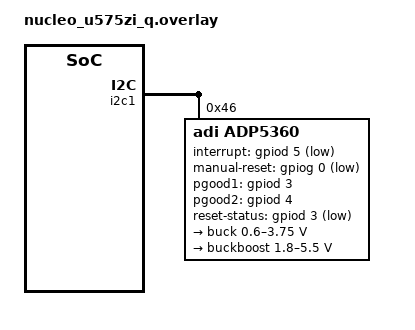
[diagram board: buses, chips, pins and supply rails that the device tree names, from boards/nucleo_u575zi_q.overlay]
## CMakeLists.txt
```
# SPDX-License-Identifier: Apache-2.0

cmake_minimum_required(VERSION 3.20.0)
find_package(Zephyr REQUIRED HINTS $ENV{ZEPHYR_BASE})
project(adp5360)

FILE(GLOB app_sources src/*.c)
target_sources(app PRIVATE ${app_sources})
```

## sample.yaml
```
sample:
  name: ADP5360 Multi-Function Device Sample
  description: Sample for ADP5360 MFD (Charger, Fuel Gauge, Regulator)
tests:
  sample.drivers.adp5360.charger:
    harness: console
    tags:
      - charger
      - mfd
    integration_platforms:
      - nucleo_u575zi_q
    filter: dt_compat_enabled("adi,adp5360")
    platform_allow: nucleo_u575zi_q
    depends_on: i2c
    harness_config:
      type: multi_line
      regex:
        - "Current Limit:.*uA"
        - "Charger is active"
  sample.drivers.adp5360.fuel_gauge:
    harness: console
    tags:
      - fuel_gauge
      - mfd
    integration_platforms:
      - nucleo_u575zi_q
    filter: dt_compat_enabled("adi,adp5360")
    platform_allow: nucleo_u575zi_q
    depends_on: i2c
    harness_config:
      type: multi_line
      regex:
        - "Fuel gauge Battery Capacity:.*"
        - "Fuel gauge SoC:.*"
  sample.drivers.adp5360.regulator:
    harness: console
    tags:
      - regulator
      - mfd
    integration_platforms:
      - nucleo_u575zi_q
    filter: dt_compat_enabled("adi,adp5360")
    platform_allow: nucleo_u575zi_q
    depends_on: i2c
    harness_config:
      type: multi_line
      regex:
        - "Buck Output Voltage:.*"
        - "Buck Boost Output Voltage:.*"
```

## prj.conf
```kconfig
CONFIG_PM_DEVICE=y
CONFIG_STDOUT_CONSOLE=y
CONFIG_CBPRINTF_FP_SUPPORT=y
CONFIG_MFD=y
CONFIG_CHARGER=y
CONFIG_FUEL_GAUGE=y
CONFIG_REGULATOR=y
CONFIG_ADP5360_TRIGGER_OWN_THREAD=y
```

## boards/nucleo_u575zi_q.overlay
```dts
/*
 * Copyright (c) 2026 Analog Devices Inc
 *
 * SPDX-License-Identifier: Apache-2.0
 */

#include <zephyr/dt-bindings/regulator/adp5360.h>

dev: &i2c1 {
	status = "okay";

	adp5360@46 {
		compatible = "adi,adp5360";
		reg = <0x46>;

		interrupt-gpios = <&gpiod 5 GPIO_ACTIVE_LOW>;
		manual-reset-gpios = <&gpiog 0 GPIO_ACTIVE_LOW>;
		pgood1-gpios = <&gpiod 3 GPIO_ACTIVE_HIGH>;
		pgood2-gpios = <&gpiod 4 GPIO_ACTIVE_HIGH>;
		reset-status-gpios = <&gpiod 3 GPIO_ACTIVE_LOW>;

		charger {
			compatible = "adi,adp5360-charger";

			battery-name = "dummy-charger";
			device-chemistry = "lithium-ion";
			charge-term-current-microamp = <5000>;
			constant-charge-current-max-microamp = <20000>;
			constant-charge-voltage-max-microvolt = <4160000>;
			re-charge-voltage-microvolt = <120000>;
			precharge-current-microamp = <5000>;
		};

		fuel-gauge {
			compatible = "adi,adp5360-fuel-gauge";
			status = "okay";
		};

		regulators {
			compatible = "adi,adp5360-regulator";

			buck: buck {
				regulator-boot-on;
				regulator-active-discharge = <1>;
				regulator-allowed-modes = <ADP5360_MODE_HYS ADP5360_MODE_PWM>;
				adi,enable-stop-pulse;
				regulator-init-microvolt = <1300000>;
				regulator-initial-mode = <ADP5360_MODE_PWM>;
				regulator-max-microvolt = <3750000>;
				regulator-min-microvolt = <600000>;
			};

			buckboost: buckboost {
				regulator-boot-on;
				regulator-active-discharge = <0>;
				regulator-init-microvolt = <3300000>;
				regulator-max-microvolt = <5500000>;
				regulator-min-microvolt = <1800000>;
			};
		};
	};
};
```

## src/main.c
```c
/*
 * Copyright (c) 2026 Analog Devices Inc.
 *
 * SPDX-License-Identifier: Apache-2.0
 */

#include <zephyr/kernel.h>
#include <zephyr/device.h>
#include <zephyr/drivers/mfd/adp5360.h>
#include <zephyr/drivers/charger.h>
#include <zephyr/drivers/fuel_gauge.h>
#include <zephyr/drivers/regulator.h>
#include <sys/errno.h>
#include <stdio.h>
#include <string.h>
#include <zephyr/sys/__assert.h>

#define DEVICE_NAME_MFD "mfd"
#define DEVICE_NAME_CHARGER "charger"
#define DEVICE_NAME_FUEL_GAUGE "fuel gauge"
#define DEVICE_NAME_BUCK_REGULATOR "buck regulator"
#define DEVICE_NAME_BUCK_BOOST_REGULATOR "buck boost regulator"

static char *interrupt_source_name[] =	{"SOC Low",
					 "SOC Accumulated",
					 "ADPICHG",
					 "Battery Protection",
					 "Thermistor Threshold",
					 "Battery Threshold",
					 "Charger Mode Change",
					 "VBus Threshold",
					 "MR Triggered",
					 "Watchdog Timeout",
					 "Buck Change",
					 "Buckboost Change"};

static char *pgood_source_name[] =	{"Charge Complete",
					 "VBUS OK",
					 "Battery OK",
					 "VOUT1 OK",
					 "VOUT2 OK"};

static const char *now_str(void)
{
	static char buf[16]; /* ...HH:MM:SS.MMM */
	uint32_t now = k_uptime_get_32();
	unsigned int ms = now % MSEC_PER_SEC;
	unsigned int s;
	unsigned int min;
	unsigned int h;

	now /= MSEC_PER_SEC;
	s = now % 60U;
	now /= 60U;
	min = now % 60U;
	now /= 60U;
	h = now;

	snprintf(buf, sizeof(buf), "%u:%02u:%02u.%03u", h, min, s, ms);
	return buf;
}

static void trigger_handler(const struct device *dev, void *user_data)
{
	const char *trig_name = (char *)user_data;

	printk("[%s]: Alert detected in INT pin! Source %s\n", now_str(), trig_name);
}

static void reset_handler(const struct device *dev, void *user_data)
{
	printk("[%s]: Reset signal detected in RESET pin!\n", now_str());
}

static void pgood_handler(const struct device *dev, void *user_data)
{
	const char *trig_name = (char *)user_data;

	printk("[%s]: PGOOD signal detected in PGOOD pin!\n Source %s\n", now_str(), trig_name);
}

static int check_device_ready(const struct device *dev, const char *dev_name)
{
	if (dev == NULL) {
		printk("Error: no %s device found.\n", dev_name);
		return -1;
	}

	if (!device_is_ready(dev)) {
		printk("Error: Device \"%s\" is not ready; "
		       "check the driver initialization logs for errors.\n",
		       dev->name);
		return -1;
	}

	return 0;
}

static int read_charger_properties(const struct device *chgdev)
{
	union charger_propval charger_val;
	int ret;

	printk("[%s]: Found device \"%s\", getting charger data\n", now_str(), chgdev->name);

	ret = charger_get_prop(chgdev, CHARGER_PROP_INPUT_REGULATION_CURRENT_UA, &charger_val);
	if (ret) {
		printk("[%s]: Error getting Regulation current on device! ret %d\n", now_str(),
		       ret);
		return -1;
	}
	printk("[%s]: Current Limit: %d uA\n", now_str(),
	       charger_val.input_current_regulation_current_ua);

	ret = charger_get_prop(chgdev, CHARGER_PROP_PRECHARGE_CURRENT_UA, &charger_val);
	if (ret) {
		printk("[%s]: Error getting Precharge current on device! ret %d\n", now_str(), ret);
		return -1;
	}
	printk("[%s]: Current (Weak Charge): %d uA\n", now_str(), charger_val.precharge_current_ua);

	ret = charger_get_prop(chgdev, CHARGER_PROP_CONSTANT_CHARGE_CURRENT_UA, &charger_val);
	if (ret) {
		printk("[%s]: Error getting Constant charge current on device! ret %d\n", now_str(),
		       ret);
		return -1;
	}
	printk("[%s]: Current (Fast Charge): %d uA\n", now_str(),
	       charger_val.const_charge_current_ua);

	ret = charger_get_prop(chgdev, CHARGER_PROP_CHARGE_TERM_CURRENT_UA, &charger_val);
	if (ret) {
		printk("[%s]: Error getting Termination current on device! ret %d\n", now_str(),
		       ret);
		return -1;
	}

	ret = charger_get_prop(chgdev, CHARGER_PROP_INPUT_REGULATION_VOLTAGE_UV, &charger_val);
	if (ret) {
		printk("[%s]: Error getting Adaptive Voltage on device! ret %d\n", now_str(), ret);
		return -1;
	}

	printk("[%s]: Adaptive Voltage: %d uV\n", now_str(),
	       charger_val.input_voltage_regulation_voltage_uv);

	ret = charger_get_prop(chgdev, CHARGER_PROP_CHARGE_TERM_CURRENT_UA, &charger_val);
	if (ret) {
		printk("[%s]: Error getting Termination Current on device! ret %d\n", now_str(),
		       ret);
		return -1;
	}

	printk("[%s]: Current (Termination): %d uA\n", now_str(),
	       charger_val.charge_term_current_ua);

	return 0;
}

static int setup_triggers(const struct device *mfddev)
{
	int ret;

	if (!IS_ENABLED(CONFIG_MFD_ADP5360_TRIGGER)) {
		return 0;
	}

	ret = mfd_adp5360_interrupt_trigger_set(mfddev,
						ADP5360_INTERRUPT_CHARGER_MODE_CHANGE,
						trigger_handler,
						(void *)interrupt_source_name[6]);
	if (ret) {
		printk("[%s]: Error setting trigger! ret %d\n", now_str(), ret);
		return -1;
	}

	printk("[%s]: INT trigger set for %s.\n", now_str(), interrupt_source_name[6]);

	ret = mfd_adp5360_reset_trigger_set(mfddev, reset_handler, NULL);
	if (ret) {
		printk("[%s]: Error setting reset trigger! ret %d\n", now_str(), ret);
		return -1;
	}

	printk("[%s]: reset trigger set.\n", now_str());

	ret = mfd_adp5360_pgood_trigger_set(mfddev, ADP5360_PGOOD1,
					    ADP5360_PGOOD_STATUS_VOUT1_OK,
					    pgood_handler,
					    (void *)pgood_source_name[3]);
	if (ret) {
		printk("[%s]: Error setting pgood trigger! ret %d\n", now_str(), ret);
		return -1;
	}

	printk("[%s]: PGOOD1 trigger set for %s.\n", now_str(), pgood_source_name[3]);

	ret = mfd_adp5360_pgood_trigger_set(mfddev, ADP5360_PGOOD1,
					    ADP5360_PGOOD_STATUS_CHARGE_COMPLETE,
					    pgood_handler,
					    (void *)pgood_source_name[0]);
	if (ret) {
		printk("[%s]: Error setting pgood trigger! ret %d\n", now_str(), ret);
		return -1;
	}

	printk("[%s]: PGOOD1 trigger set for %s.\n", now_str(), pgood_source_name[0]);

	ret = mfd_adp5360_pgood_trigger_set(mfddev, ADP5360_PGOOD2,
					    ADP5360_PGOOD_STATUS_VOUT2_OK,
					    pgood_handler,
					    (void *)pgood_source_name[4]);
	if (ret) {
		printk("[%s]: Error setting pgood trigger! ret %d\n", now_str(), ret);
		return -1;
	}

	printk("[%s]: PGOOD2 trigger set for %s.\n", now_str(), pgood_source_name[4]);

	return 0;
}

static int enable_charger(const struct device *chgdev)
{
	int ret;

	ret = charger_charge_enable(chgdev, true);
	if (ret) {
		printk("[%s]: Failed to start charger! ret %d\n", now_str(), ret);
		return -1;
	}

	return 0;
}

static int read_fuel_gauge_properties(const struct device *flgdev)
{
	union fuel_gauge_prop_val fuel_gauge_val;
	int ret;

	ret = fuel_gauge_get_prop(flgdev, FUEL_GAUGE_DESIGN_CAPACITY, &fuel_gauge_val);
	if (ret) {
		printk("[%s]: Error getting Fuel Gauge Battery Capacity on device! ret %d\n",
		       now_str(), ret);
		return -1;
	}

	printk("[%s]: Fuel gauge Battery Capacity: %d\n", now_str(), fuel_gauge_val.design_cap);

	ret = fuel_gauge_get_prop(flgdev, FUEL_GAUGE_STATE_OF_CHARGE_ALARM, &fuel_gauge_val);
	if (ret) {
		printk("[%s]: Error getting Fuel Gauge SoC Alarm on device! ret %d\n", now_str(),
		       ret);
		return -1;
	}

	printk("[%s]: Fuel gauge SoC Alarm: %d\n", now_str(), fuel_gauge_val.state_of_charge_alarm);

	return 0;
}

static int read_regulator_voltages(const struct device *bckdev,
				   const struct device *bstdev)
{
	uint32_t volt_out_uv;
	int ret;

	ret = regulator_get_voltage(bckdev, &volt_out_uv);
	if (ret) {
		printk("[%s]: Error getting buck voltage on device! ret %d\n", now_str(), ret);
		return -1;
	}

	printk("[%s]: Buck Output Voltage: %d\n", now_str(), volt_out_uv);

	ret = regulator_get_voltage(bstdev, &volt_out_uv);
	if (ret) {
		printk("[%s]: Error getting buck boost voltage on device! ret %d\n", now_str(),
		       ret);
		return -1;
	}

	printk("[%s]: Buck Boost Output Voltage: %d\n", now_str(), volt_out_uv);

	return 0;
}

static int monitor_charger_status(const struct device *chgdev)
{
	union charger_propval charger_val;
	int ret;

	ret = charger_get_prop(chgdev, CHARGER_PROP_ONLINE, &charger_val);
	if (ret) {
		printk("[%s]: Error getting Online status on device! ret %d\n", now_str(),
		       ret);
		return -1;
	}

	if (charger_val.online == CHARGER_ONLINE_FIXED) {
		printk("[%s]: Online: Charger is active.\n", now_str());
	} else {
		printk("[%s]: Online: Charger is offline.\n", now_str());
	}

	ret = charger_get_prop(chgdev, CHARGER_PROP_PRESENT, &charger_val);
	if (ret) {
		printk("[%s]: Error getting Battery Present status on device! ret %d\n",
		       now_str(), ret);
		return -1;
	}

	if (charger_val.present) {
		printk("[%s]: Present: Battery is Present.\n", now_str());
	} else {
		printk("[%s]: Present: Battery is Not Present.\n", now_str());
	}

	ret = charger_get_prop(chgdev, CHARGER_PROP_STATUS, &charger_val);
	if (ret) {
		printk("[%s]: Error getting Charging Status on device! ret %d\n", now_str(),
		       ret);
		return -1;
	}

	switch (charger_val.status) {
	case CHARGER_STATUS_NOT_CHARGING:
		printk("[%s]: Status: Charger is Not Charging.\n", now_str());
		break;
	case CHARGER_STATUS_CHARGING:
		printk("[%s]: Status: Charger is Charging.\n", now_str());
		break;
	case CHARGER_STATUS_FULL:
		printk("[%s]: Status: Charging is Complete.\n", now_str());
		break;
	case CHARGER_STATUS_DISCHARGING:
		printk("[%s]: Status: Charger is not charging and in an internal status "
		       "state.\n",
		       now_str());
		break;
	default:
		printk("[%s]: Status: Charger Status is unknown.\n", now_str());
	}

	ret = charger_get_prop(chgdev, CHARGER_PROP_CHARGE_TYPE, &charger_val);
	if (ret) {
		printk("[%s]: Error getting Charging Mode on device! ret %d\n", now_str(),
		       ret);
		return -1;
	}

	switch (charger_val.charge_type) {
	case CHARGER_CHARGE_TYPE_NONE:
		printk("[%s]: Mode: Charger is Not Charging.\n", now_str());
		break;
	case CHARGER_CHARGE_TYPE_TRICKLE:
		printk("[%s]: Mode: Charger is in Trickle Mode.\n", now_str());
		break;
	case CHARGER_CHARGE_TYPE_FAST:
		printk("[%s]: Mode: Charging is in Fast Mode (CC).\n", now_str());
		break;
	case CHARGER_CHARGE_TYPE_LONGLIFE:
		printk("[%s]: Mode: Charging is in Fast Mode (CV).\n", now_str());
		break;
	case CHARGER_CHARGE_TYPE_UNKNOWN:
		printk("[%s]: Mode: Charger is not charging and in an internal status "
		       "state.\n",
		       now_str());
		break;
	default:
		printk("[%s]: Mode: Charger Type is unknown.\n", now_str());
	}

	ret = charger_get_prop(chgdev, CHARGER_PROP_HEALTH, &charger_val);
	if (ret) {
		printk("[%s]: Error getting Battery Health Status on device! ret %d\n",
		       now_str(), ret);
		return -1;
	}

	switch (charger_val.health) {
	case CHARGER_HEALTH_COLD:
		printk("[%s]: Health: Battery is Cold.\n", now_str());
		break;
	case CHARGER_HEALTH_COOL:
		printk("[%s]: Health: Battery is Cool.\n", now_str());
		break;
	case CHARGER_HEALTH_WARM:
		printk("[%s]: Health: Battery is Warm.\n", now_str());
		break;
	case CHARGER_HEALTH_HOT:
		printk("[%s]: Health: Battery is Hot.\n", now_str());
		break;
	case CHARGER_HEALTH_WATCHDOG_TIMER_EXPIRE:
		printk("[%s]: Health: Charger Watchdog has expired!\n", now_str());
		break;
	case CHARGER_HEALTH_OVERVOLTAGE:
		printk("[%s]: Health: Charger Overvoltage has occurred!\n", now_str());
		break;
	case CHARGER_HEALTH_OVERHEAT:
		printk("[%s]: Health: Charger is Overheating!\n", now_str());
		break;
	case CHARGER_HEALTH_SAFETY_TIMER_EXPIRE:
		printk("[%s]: Health: Charger safety timer has expired!\n", now_str());
		break;
	case CHARGER_HEALTH_NO_BATTERY:
		printk("[%s]: Health: No battery connected!\n", now_str());
		break;
	case CHARGER_HEALTH_GOOD:
		printk("[%s]: Health: Charger health is good.\n", now_str());
		break;
	default:
		printk("[%s]: Health: Charger health is unknown.\n", now_str());
	}

	return 0;
}

static int monitor_fuel_gauge_status(const struct device *flgdev)
{
	union fuel_gauge_prop_val fuel_gauge_val;
	int ret;

	ret = fuel_gauge_get_prop(flgdev, FUEL_GAUGE_VOLTAGE, &fuel_gauge_val);
	if (ret) {
		printk("[%s]: Error getting Fuel Gauge Voltage on device! ret %d\n",
		       now_str(), ret);
		return -1;
	}

	printk("[%s]: Fuel gauge Voltage: %d\n", now_str(), fuel_gauge_val.voltage);

	ret = fuel_gauge_get_prop(flgdev, FUEL_GAUGE_CYCLE_COUNT, &fuel_gauge_val);
	if (ret) {
		printk("[%s]: Error getting Fuel Gauge Cycle Count on device! ret %d\n",
		       now_str(), ret);
		return -1;
	}

	printk("[%s]: Fuel gauge Cycle Count: %d\n", now_str(), fuel_gauge_val.cycle_count);

	ret = fuel_gauge_get_prop(flgdev, FUEL_GAUGE_STATUS, &fuel_gauge_val);
	if (ret) {
		printk("[%s]: Error getting Fuel Gauge Status on device! ret %d\n",
		       now_str(), ret);
		return -1;
	}

	printk("[%s]: Fuel gauge Status 0x%X\n", now_str(), fuel_gauge_val.fg_status);

	ret = fuel_gauge_get_prop(flgdev, FUEL_GAUGE_ABSOLUTE_STATE_OF_CHARGE,
				  &fuel_gauge_val);
	if (ret) {
		printk("[%s]: Error getting Fuel Gauge SoC on device! ret %d\n", now_str(),
		       ret);
		return -1;
	}

	printk("[%s]: Fuel gauge SoC: %d\n", now_str(),
	       fuel_gauge_val.absolute_state_of_charge);

	ret = fuel_gauge_get_prop(flgdev, FUEL_GAUGE_THERM_VOLTAGE_UV,
				  &fuel_gauge_val);
	if (ret) {
		printk("[%s]: Error getting Fuel Gauge Thermistor Voltage on device! ret %d\n",
		       now_str(), ret);
		return -1;
	}

	printk("[%s]: Fuel gauge Thermistor Voltage (uV): %d\n", now_str(),
	       fuel_gauge_val.therm_voltage_uv);

	return 0;
}

static int monitor_loop(const struct device *chgdev,
			const struct device *flgdev)
{
	int ret;

	while (1) {
		ret = monitor_charger_status(chgdev);
		if (ret) {
			return ret;
		}

		printk("\n\n");

		ret = monitor_fuel_gauge_status(flgdev);
		if (ret) {
			return ret;
		}

		k_sleep(K_SECONDS(1));
	}

	return 0;
}

int main(void)
{
	const struct device *mfddev = DEVICE_DT_GET_ONE(adi_adp5360);
	const struct device *chgdev = DEVICE_DT_GET_OR_NULL(DT_INST(0, adi_adp5360_charger));
	const struct device *flgdev = DEVICE_DT_GET_OR_NULL(DT_INST(0, adi_adp5360_fuel_gauge));
	const struct device *bckdev = DEVICE_DT_GET_OR_NULL(DT_NODELABEL(buck));
	const struct device *bstdev = DEVICE_DT_GET_OR_NULL(DT_NODELABEL(buckboost));
	int ret;

	ret = check_device_ready(mfddev, DEVICE_NAME_MFD);
	if (ret) {
		return ret;
	}

	ret = check_device_ready(chgdev, DEVICE_NAME_CHARGER);
	if (ret) {
		return ret;
	}

	ret = check_device_ready(flgdev, DEVICE_NAME_FUEL_GAUGE);
	if (ret) {
		return ret;
	}

	ret = check_device_ready(bckdev, DEVICE_NAME_BUCK_REGULATOR);
	if (ret) {
		return ret;
	}

	ret = check_device_ready(bstdev, DEVICE_NAME_BUCK_BOOST_REGULATOR);
	if (ret) {
		return ret;
	}

	ret = read_charger_properties(chgdev);
	if (ret) {
		return ret;
	}

	ret = setup_triggers(mfddev);
	if (ret) {
		return ret;
	}

	ret = enable_charger(chgdev);
	if (ret) {
		return ret;
	}

	ret = read_fuel_gauge_properties(flgdev);
	if (ret) {
		return ret;
	}

	ret = read_regulator_voltages(bckdev, bstdev);
	if (ret) {
		return ret;
	}

	ret = monitor_loop(chgdev, flgdev);
	if (ret) {
		return ret;
	}

	return 0;
}
```
